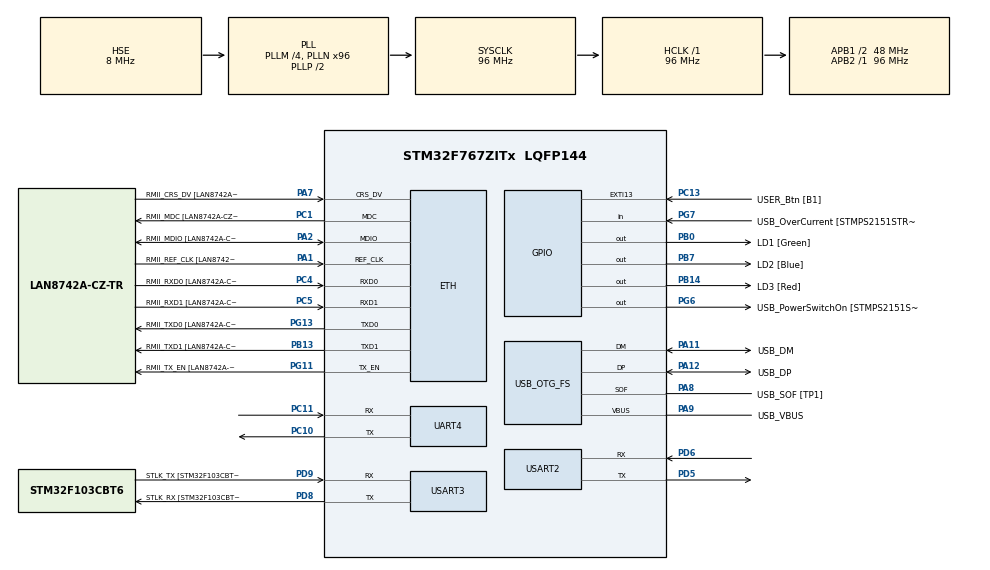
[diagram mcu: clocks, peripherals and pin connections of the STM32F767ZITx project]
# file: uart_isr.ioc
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ETH.MediaInterface=HAL_ETH_RMII_MODE
ETH.PHY_Name=LAN8742A_PHY_ADDRESS
ETH.PHY_Value=0
ETH.PhyAddress=0
FREERTOS.Queues01=uart2_BytesReceived,16,uint16_t,0,Dynamic,NULL,NULL
FREERTOS.Tasks01=defaultTask,24,128,StartDefaultTask,Default,NULL,Dynamic,NULL,NULL;uartPrintOutTas,8,128,uartPrintOutTask,Default,NULL,Dynamic,NULL,NULL
FREERTOS.Timers01=sendTimer,sendTimerEntry,osTimerPeriodic,Default,NULL,Dynamic,NULL
FREERTOS.configTIMER_TASK_PRIORITY=8
FREERTOS.configUSE_NEWLIB_REENTRANT=1
Mcu.Family=STM32F7
Mcu.Name=STM32F767ZITx
Mcu.Package=LQFP144
NVIC.PriorityGroup=NVIC_PRIORITYGROUP_4
NVIC.TIM6_DAC_IRQn=true\:15\:0\:false\:false\:true\:false\:false\:true\:true
NVIC.TimeBase=TIM6_DAC_IRQn
NVIC.TimeBaseIP=TIM6
NVIC.USART2_IRQn=true\:8\:0\:true\:false\:true\:true\:true\:true\:true
PA1.GPIO_Label=RMII_REF_CLK [LAN8742A-CZ-TR_REFCLK0]
PA1.Mode=RMII
PA1.Signal=ETH_REF_CLK
PA10.GPIO_Label=USB_ID
PA10.Signal=USB_OTG_FS_ID
PA11.GPIO_Label=USB_DM
PA11.Mode=Device_Only
PA11.Signal=USB_OTG_FS_DM
PA12.GPIO_Label=USB_DP
PA12.Mode=Device_Only
PA12.Signal=USB_OTG_FS_DP
PA13.GPIO_Label=TMS
PA13.Mode=Serial_Wire
PA13.Signal=SYS_JTMS-SWDIO
PA14.GPIO_Label=TCK
PA14.Mode=Serial_Wire
PA14.Signal=SYS_JTCK-SWCLK
PA2.GPIO_Label=RMII_MDIO [LAN8742A-CZ-TR_MDIO]
PA2.Mode=RMII
PA2.Signal=ETH_MDIO
PA7.GPIO_Label=RMII_CRS_DV [LAN8742A-CZ-TR_CRS_DV]
PA7.Mode=RMII
PA7.Signal=ETH_CRS_DV
PA8.GPIO_Label=USB_SOF [TP1]
PA8.Mode=Activate_SOF_FS
PA8.Signal=USB_OTG_FS_SOF
PA9.GPIO_Label=USB_VBUS
PA9.Mode=Activate_VBUS
PA9.Signal=USB_OTG_FS_VBUS
PB0.GPIO_Label=LD1 [Green]
PB0.Signal=GPIO_Output
PB13.GPIO_Label=RMII_TXD1 [LAN8742A-CZ-TR_TXD1]
PB13.Mode=RMII
PB13.Signal=ETH_TXD1
PB14.GPIO_Label=LD3 [Red]
PB14.Signal=GPIO_Output
PB3.GPIO_Label=SWO
PB3.Signal=SYS_JTDO-SWO
PB7.GPIO_Label=LD2 [Blue]
PB7.Signal=GPIO_Output
PC1.GPIO_Label=RMII_MDC [LAN8742A-CZ-TR_MDC]
PC1.Mode=RMII
PC1.Signal=ETH_MDC
PC10.Mode=Asynchronous
PC10.Signal=UART4_TX
PC11.Mode=Asynchronous
PC11.Signal=UART4_RX
PC13.GPIO_Label=USER_Btn [B1]
PC13.Signal=GPXTI13
PC14/OSC32_IN.Mode=LSE-External-Oscillator
PC14/OSC32_IN.Signal=RCC_OSC32_IN
PC15/OSC32_OUT.Mode=LSE-External-Oscillator
PC15/OSC32_OUT.Signal=RCC_OSC32_OUT
PC4.GPIO_Label=RMII_RXD0 [LAN8742A-CZ-TR_RXD0]
PC4.Mode=RMII
PC4.Signal=ETH_RXD0
PC5.GPIO_Label=RMII_RXD1 [LAN8742A-CZ-TR_RXD1]
PC5.Mode=RMII
PC5.Signal=ETH_RXD1
PD5.Mode=Asynchronous
PD5.Signal=USART2_TX
PD6.Mode=Asynchronous
PD6.Signal=USART2_RX
PD8.GPIO_Label=STLK_RX [STM32F103CBT6_PA3]
PD8.Mode=Asynchronous
PD8.Signal=USART3_TX
PD9.GPIO_Label=STLK_TX [STM32F103CBT6_PA2]
PD9.Mode=Asynchronous
PD9.Signal=USART3_RX
PG11.GPIO_Label=RMII_TX_EN [LAN8742A-CZ-TR_TXEN]
PG11.Mode=RMII
PG11.Signal=ETH_TX_EN
PG13.GPIO_Label=RMII_TXD0 [LAN8742A-CZ-TR_TXD0]
PG13.Mode=RMII
PG13.Signal=ETH_TXD0
PG6.GPIO_Label=USB_PowerSwitchOn [STMPS2151STR_EN]
PG6.Signal=GPIO_Output
PG7.GPIO_Label=USB_OverCurrent [STMPS2151STR_FAULT]
PG7.Signal=GPIO_Input
PH0/OSC_IN.GPIO_Label=MCO [STM32F103CBT6_PA8]
PH0/OSC_IN.Mode=HSE-External-Clock-Source
PH0/OSC_IN.Signal=RCC_OSC_IN
PH1/OSC_OUT.Mode=HSE-External-Clock-Source
PH1/OSC_OUT.Signal=RCC_OSC_OUT
ProjectManager.HeapSize=0x200
ProjectManager.StackSize=0x400
ProjectManager.TargetToolchain=STM32CubeIDE
RCC.48MHZClocksFreq_Value=24000000
RCC.AHBFreq_Value=96000000
RCC.APB1CLKDivider=RCC_HCLK_DIV2
RCC.APB1Freq_Value=48000000
RCC.APB1TimFreq_Value=96000000
RCC.APB2Freq_Value=96000000
RCC.APB2TimFreq_Value=96000000
RCC.CortexFreq_Value=96000000
RCC.HCLKFreq_Value=96000000
RCC.HSE_VALUE=8000000
RCC.HSI_VALUE=16000000
RCC.PLLM=4
RCC.PLLMUL=RCC_PLL_MUL9
RCC.PLLN=96
RCC.PLLQ=4
RCC.PRESCALERUSB=RCC_USBCLKSOURCE_PLL_DIV1_5
RCC.SYSCLKFreq_VALUE=96000000
RCC.SYSCLKSource=RCC_SYSCLKSOURCE_PLLCLK
RCC.SYSCLKSourceVirtual=RCC_SYSCLKSOURCE_PLLCLK
RCC.USBFreq_Value=48000000
RCC.VCOOutputFreq_Value=192000000
USART2.VirtualMode-Asynchronous=VM_ASYNC
USART3.VirtualMode-Asynchronous=VM_ASYNC
USB_OTG_FS.VirtualMode=Device_Only
VP_FREERTOS_VS_CMSIS_V2.Mode=CMSIS_V2
VP_SYS_VS_tim6.Mode=TIM6
board=NUCLEO-F767ZI

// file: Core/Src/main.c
/* USER CODE BEGIN Header */
/**
  ******************************************************************************
  * @file           : main.c
  * @brief          : Main program body
  ******************************************************************************
  * @attention
  *
  * Copyright (c) 2023 STMicroelectronics.
  * All rights reserved.
  *
  * This software is licensed under terms that can be found in the LICENSE file
  * in the root directory of this software component.
  * If no LICENSE file comes with this software, it is provided AS-IS.
  *
  ******************************************************************************
  */
/* USER CODE END Header */
#include "main.h"
#include "string.h"
#include "cmsis_os.h"

/* USER CODE BEGIN Includes */
#include <SEGGER_SYSVIEW.h>
#include <FreeRTOS.h>
#include <task.h>
#include <queue.h>
#include <timers.h>
#include <stdbool.h>
/* USER CODE END Includes */

#if defined ( __ICCARM__ ) /*!< IAR Compiler */
#pragma location=0x2007c000
ETH_DMADescTypeDef  DMARxDscrTab[ETH_RX_DESC_CNT]; /* Ethernet Rx DMA Descriptors */
#pragma location=0x2007c0a0
ETH_DMADescTypeDef  DMATxDscrTab[ETH_TX_DESC_CNT]; /* Ethernet Tx DMA Descriptors */

#elif defined ( __CC_ARM )  /* MDK ARM Compiler */

__attribute__((at(0x2007c000))) ETH_DMADescTypeDef  DMARxDscrTab[ETH_RX_DESC_CNT]; /* Ethernet Rx DMA Descriptors */
__attribute__((at(0x2007c0a0))) ETH_DMADescTypeDef  DMATxDscrTab[ETH_TX_DESC_CNT]; /* Ethernet Tx DMA Descriptors */

#elif defined ( __GNUC__ ) /* GNU Compiler */
ETH_DMADescTypeDef DMARxDscrTab[ETH_RX_DESC_CNT] __attribute__((section(".RxDecripSection"))); /* Ethernet Rx DMA Descriptors */
ETH_DMADescTypeDef DMATxDscrTab[ETH_TX_DESC_CNT] __attribute__((section(".TxDecripSection")));   /* Ethernet Tx DMA Descriptors */

#endif

ETH_TxPacketConfig TxConfig;

ETH_HandleTypeDef heth;

UART_HandleTypeDef huart4;
UART_HandleTypeDef huart2;
UART_HandleTypeDef huart3;

PCD_HandleTypeDef hpcd_USB_OTG_FS;

/* Definitions for defaultTask */
osThreadId_t defaultTaskHandle;
const osThreadAttr_t defaultTask_attributes = {
  .name = "defaultTask",
  .stack_size = 128 * 4,
  .priority = (osPriority_t) osPriorityNormal,
};
/* Definitions for uartPrintOutTas */
osThreadId_t uartPrintOutTasHandle;
const osThreadAttr_t uartPrintOutTas_attributes = {
  .name = "uartPrintOutTas",
  .stack_size = 128 * 4,
  .priority = (osPriority_t) osPriorityLow,
};
/* Definitions for uart2_BytesReceived */
osMessageQueueId_t uart2_BytesReceivedHandle;
const osMessageQueueAttr_t uart2_BytesReceived_attributes = {
  .name = "uart2_BytesReceived"
};
/* Definitions for sendTimer */
osTimerId_t sendTimerHandle;
const osTimerAttr_t sendTimer_attributes = {
  .name = "sendTimer"
};

void SystemClock_Config(void);
static void MX_GPIO_Init(void);
static void MX_ETH_Init(void);
static void MX_USART3_UART_Init(void);
static void MX_USB_OTG_FS_PCD_Init(void);
static void MX_UART4_Init(void);
static void MX_USART2_UART_Init(void);
void StartDefaultTask(void *argument);
void uartPrintOutTask(void *argument);
void sendTimerEntry(void *argument);

/* USER CODE BEGIN PFP */
static bool rxInProgress = false;
/* USER CODE END PFP */

int main(void)
{

  /* MCU Configuration--------------------------------------------------------*/

  /* Reset of all peripherals, Initializes the Flash interface and the Systick. */
  HAL_Init();

  /* USER CODE BEGIN Init */
  SEGGER_SYSVIEW_Conf();
  /* USER CODE END Init */

  /* Configure the system clock */
  SystemClock_Config();

  /* Initialize all configured peripherals */
  MX_GPIO_Init();
  MX_ETH_Init();
  MX_USART3_UART_Init();
  MX_USB_OTG_FS_PCD_Init();
  MX_UART4_Init();
  MX_USART2_UART_Init();

  /* Init scheduler */
  osKernelInitialize();

  /* Create the timer(s) */
  /* creation of sendTimer */
  sendTimerHandle = osTimerNew(sendTimerEntry, osTimerPeriodic, NULL, &sendTimer_attributes);

  /* USER CODE BEGIN RTOS_TIMERS */
  /* start timers, add new ones, ... */
  osTimerStart(sendTimerHandle, 1000 / portTICK_PERIOD_MS);
  /* USER CODE END RTOS_TIMERS */

  /* Create the queue(s) */
  /* creation of uart2_BytesReceived */
  uart2_BytesReceivedHandle = osMessageQueueNew (16, sizeof(uint16_t), &uart2_BytesReceived_attributes);

  /* Create the thread(s) */
  /* creation of defaultTask */
  defaultTaskHandle = osThreadNew(StartDefaultTask, NULL, &defaultTask_attributes);

  /* creation of uartPrintOutTas */
  uartPrintOutTasHandle = osThreadNew(uartPrintOutTask, NULL, &uartPrintOutTas_attributes);

  /* Start scheduler */
  osKernelStart();
  /* We should never get here as control is now taken by the scheduler */
  /* Infinite loop */
  while (1)
  {

  }
}

void SystemClock_Config(void)
{
  RCC_OscInitTypeDef RCC_OscInitStruct = {0};
  RCC_ClkInitTypeDef RCC_ClkInitStruct = {0};

  /** Configure LSE Drive Capability
  */
  HAL_PWR_EnableBkUpAccess();

  /** Configure the main internal regulator output voltage
  */
  __HAL_RCC_PWR_CLK_ENABLE();
  __HAL_PWR_VOLTAGESCALING_CONFIG(PWR_REGULATOR_VOLTAGE_SCALE3);

  /** Initializes the RCC Oscillators according to the specified parameters
  * in the RCC_OscInitTypeDef structure.
  */
  RCC_OscInitStruct.OscillatorType = RCC_OSCILLATORTYPE_HSE;
  RCC_OscInitStruct.HSEState = RCC_HSE_BYPASS;
  RCC_OscInitStruct.PLL.PLLState = RCC_PLL_ON;
  RCC_OscInitStruct.PLL.PLLSource = RCC_PLLSOURCE_HSE;
  RCC_OscInitStruct.PLL.PLLM = 4;
  RCC_OscInitStruct.PLL.PLLN = 96;
  RCC_OscInitStruct.PLL.PLLP = RCC_PLLP_DIV2;
  RCC_OscInitStruct.PLL.PLLQ = 4;
  RCC_OscInitStruct.PLL.PLLR = 2;
  if (HAL_RCC_OscConfig(&RCC_OscInitStruct) != HAL_OK)
  {
    Error_Handler();
  }

  /** Activate the Over-Drive mode
  */
  if (HAL_PWREx_EnableOverDrive() != HAL_OK)
  {
    Error_Handler();
  }

  /** Initializes the CPU, AHB and APB buses clocks
  */
  RCC_ClkInitStruct.ClockType = RCC_CLOCKTYPE_HCLK|RCC_CLOCKTYPE_SYSCLK
                              |RCC_CLOCKTYPE_PCLK1|RCC_CLOCKTYPE_PCLK2;
  RCC_ClkInitStruct.SYSCLKSource = RCC_SYSCLKSOURCE_PLLCLK;
  RCC_ClkInitStruct.AHBCLKDivider = RCC_SYSCLK_DIV1;
  RCC_ClkInitStruct.APB1CLKDivider = RCC_HCLK_DIV2;
  RCC_ClkInitStruct.APB2CLKDivider = RCC_HCLK_DIV1;

  if (HAL_RCC_ClockConfig(&RCC_ClkInitStruct, FLASH_LATENCY_3) != HAL_OK)
  {
    Error_Handler();
  }
}

static void MX_ETH_Init(void)
{

   static uint8_t MACAddr[6];

  heth.Instance = ETH;
  MACAddr[0] = 0x00;
  MACAddr[1] = 0x80;
  MACAddr[2] = 0xE1;
  MACAddr[3] = 0x00;
  MACAddr[4] = 0x00;
  MACAddr[5] = 0x00;
  heth.Init.MACAddr = &MACAddr[0];
  heth.Init.MediaInterface = HAL_ETH_RMII_MODE;
  heth.Init.TxDesc = DMATxDscrTab;
  heth.Init.RxDesc = DMARxDscrTab;
  heth.Init.RxBuffLen = 1524;

  if (HAL_ETH_Init(&heth) != HAL_OK)
  {
    Error_Handler();
  }

  memset(&TxConfig, 0 , sizeof(ETH_TxPacketConfig));
  TxConfig.Attributes = ETH_TX_PACKETS_FEATURES_CSUM | ETH_TX_PACKETS_FEATURES_CRCPAD;
  TxConfig.ChecksumCtrl = ETH_CHECKSUM_IPHDR_PAYLOAD_INSERT_PHDR_CALC;
  TxConfig.CRCPadCtrl = ETH_CRC_PAD_INSERT;

}

static void MX_UART4_Init(void)
{

  huart4.Instance = UART4;
  huart4.Init.BaudRate = 115200;
  huart4.Init.WordLength = UART_WORDLENGTH_8B;
  huart4.Init.StopBits = UART_STOPBITS_1;
  huart4.Init.Parity = UART_PARITY_NONE;
  huart4.Init.Mode = UART_MODE_TX_RX;
  huart4.Init.HwFlowCtl = UART_HWCONTROL_NONE;
  huart4.Init.OverSampling = UART_OVERSAMPLING_16;
  huart4.Init.OneBitSampling = UART_ONE_BIT_SAMPLE_DISABLE;
  huart4.AdvancedInit.AdvFeatureInit = UART_ADVFEATURE_NO_INIT;
  if (HAL_UART_Init(&huart4) != HAL_OK)
  {
    Error_Handler();
  }

}

static void MX_USART2_UART_Init(void)
{

  huart2.Instance = USART2;
  huart2.Init.BaudRate = 115200;
  huart2.Init.WordLength = UART_WORDLENGTH_8B;
  huart2.Init.StopBits = UART_STOPBITS_1;
  huart2.Init.Parity = UART_PARITY_NONE;
  huart2.Init.Mode = UART_MODE_TX_RX;
  huart2.Init.HwFlowCtl = UART_HWCONTROL_NONE;
  huart2.Init.OverSampling = UART_OVERSAMPLING_16;
  huart2.Init.OneBitSampling = UART_ONE_BIT_SAMPLE_DISABLE;
  huart2.AdvancedInit.AdvFeatureInit = UART_ADVFEATURE_NO_INIT;
  if (HAL_UART_Init(&huart2) != HAL_OK)
  {
    Error_Handler();
  }

}

static void MX_USART3_UART_Init(void)
{

  huart3.Instance = USART3;
  huart3.Init.BaudRate = 115200;
  huart3.Init.WordLength = UART_WORDLENGTH_8B;
  huart3.Init.StopBits = UART_STOPBITS_1;
  huart3.Init.Parity = UART_PARITY_NONE;
  huart3.Init.Mode = UART_MODE_TX_RX;
  huart3.Init.HwFlowCtl = UART_HWCONTROL_NONE;
  huart3.Init.OverSampling = UART_OVERSAMPLING_16;
  huart3.Init.OneBitSampling = UART_ONE_BIT_SAMPLE_DISABLE;
  huart3.AdvancedInit.AdvFeatureInit = UART_ADVFEATURE_NO_INIT;
  if (HAL_UART_Init(&huart3) != HAL_OK)
  {
    Error_Handler();
  }

}

static void MX_USB_OTG_FS_PCD_Init(void)
{

  hpcd_USB_OTG_FS.Instance = USB_OTG_FS;
  hpcd_USB_OTG_FS.Init.dev_endpoints = 6;
  hpcd_USB_OTG_FS.Init.speed = PCD_SPEED_FULL;
  hpcd_USB_OTG_FS.Init.dma_enable = DISABLE;
  hpcd_USB_OTG_FS.Init.phy_itface = PCD_PHY_EMBEDDED;
  hpcd_USB_OTG_FS.Init.Sof_enable = ENABLE;
  hpcd_USB_OTG_FS.Init.low_power_enable = DISABLE;
  hpcd_USB_OTG_FS.Init.lpm_enable = DISABLE;
  hpcd_USB_OTG_FS.Init.vbus_sensing_enable = ENABLE;
  hpcd_USB_OTG_FS.Init.use_dedicated_ep1 = DISABLE;
  if (HAL_PCD_Init(&hpcd_USB_OTG_FS) != HAL_OK)
  {
    Error_Handler();
  }

}

static void MX_GPIO_Init(void)
{
  GPIO_InitTypeDef GPIO_InitStruct = {0};

  /* GPIO Ports Clock Enable */
  __HAL_RCC_GPIOC_CLK_ENABLE();
  __HAL_RCC_GPIOH_CLK_ENABLE();
  __HAL_RCC_GPIOA_CLK_ENABLE();
  __HAL_RCC_GPIOB_CLK_ENABLE();
  __HAL_RCC_GPIOD_CLK_ENABLE();
  __HAL_RCC_GPIOG_CLK_ENABLE();

  /*Configure GPIO pin Output Level */
  HAL_GPIO_WritePin(GPIOB, LD1_Pin|LD3_Pin|LD2_Pin, GPIO_PIN_RESET);

  /*Configure GPIO pin Output Level */
  HAL_GPIO_WritePin(USB_PowerSwitchOn_GPIO_Port, USB_PowerSwitchOn_Pin, GPIO_PIN_RESET);

  /*Configure GPIO pin : USER_Btn_Pin */
  GPIO_InitStruct.Pin = USER_Btn_Pin;
  GPIO_InitStruct.Mode = GPIO_MODE_IT_RISING;
  GPIO_InitStruct.Pull = GPIO_NOPULL;
  HAL_GPIO_Init(USER_Btn_GPIO_Port, &GPIO_InitStruct);

  /*Configure GPIO pins : LD1_Pin LD3_Pin LD2_Pin */
  GPIO_InitStruct.Pin = LD1_Pin|LD3_Pin|LD2_Pin;
  GPIO_InitStruct.Mode = GPIO_MODE_OUTPUT_PP;
  GPIO_InitStruct.Pull = GPIO_NOPULL;
  GPIO_InitStruct.Speed = GPIO_SPEED_FREQ_LOW;
  HAL_GPIO_Init(GPIOB, &GPIO_InitStruct);

  /*Configure GPIO pin : USB_PowerSwitchOn_Pin */
  GPIO_InitStruct.Pin = USB_PowerSwitchOn_Pin;
  GPIO_InitStruct.Mode = GPIO_MODE_OUTPUT_PP;
  GPIO_InitStruct.Pull = GPIO_NOPULL;
  GPIO_InitStruct.Speed = GPIO_SPEED_FREQ_LOW;
  HAL_GPIO_Init(USB_PowerSwitchOn_GPIO_Port, &GPIO_InitStruct);

  /*Configure GPIO pin : USB_OverCurrent_Pin */
  GPIO_InitStruct.Pin = USB_OverCurrent_Pin;
  GPIO_InitStruct.Mode = GPIO_MODE_INPUT;
  GPIO_InitStruct.Pull = GPIO_NOPULL;
  HAL_GPIO_Init(USB_OverCurrent_GPIO_Port, &GPIO_InitStruct);

}

/* USER CODE BEGIN 4 */
void startReceiveInt( void )
{

	rxInProgress = true;
	USART2->CR3 |= USART_CR3_EIE;	//enable error interrupts
	USART2->CR1 |= (USART_CR1_UE | USART_CR1_RXNEIE);
	//all 4 bits are for preemption priority -
	NVIC_SetPriority(USART2_IRQn, 6);
	NVIC_EnableIRQ(USART2_IRQn);
	SEGGER_SYSVIEW_PrintfHost("recv");
}
void USART2_IRQHandler(void)
{
  /* USER CODE BEGIN USART2_IRQn 0 */
  //SEGGER_SYSVIEW_PrintfHost("isr");
  /* USER CODE END USART2_IRQn 0 */

  /* USER CODE BEGIN USART2_IRQn 1 */
	portBASE_TYPE xHigherPriorityTaskWoken = pdFALSE;
	SEGGER_SYSVIEW_RecordEnterISR();

	//first check for errors
	if(	USART2->ISR & (	USART_ISR_ORE_Msk |
						USART_ISR_NE_Msk |
						USART_ISR_FE_Msk |
						USART_ISR_PE_Msk ))
	{
		//clear error flags
		USART2->ICR |= (USART_ICR_FECF |
						USART_ICR_PECF |
						USART_ICR_NCF |
						USART_ICR_ORECF);
	}

	if(	USART2->ISR & USART_ISR_RXNE_Msk)
	{
		//read the data register unconditionally to clear
		//the receive not empty interrupt if no reception is
		//in progress
		uint8_t tempVal = (uint8_t) USART2->RDR;

		if(rxInProgress)
		{
			xQueueSendFromISR(uart2_BytesReceivedHandle, &tempVal, &xHigherPriorityTaskWoken);
			//SEGGER_SYSVIEW_PrintfHost(&tempVal);
		}
	}
	SEGGER_SYSVIEW_RecordExitISR();
	portYIELD_FROM_ISR(xHigherPriorityTaskWoken);
  /* USER CODE END USART2_IRQn 1 */
}
static const uint8_t uart4Msg[1] = "d";

/* USER CODE END 4 */

void StartDefaultTask(void *argument)
{
  /* USER CODE BEGIN 5 */
  /* Infinite loop */
  for(;;)
  {
	//SEGGER_SYSVIEW_PrintfHost("default");
    osDelay(1);
    //SEGGER_SYSVIEW_PrintfHost("default");
  }
  /* USER CODE END 5 */
}

void uartPrintOutTask(void *argument)
{
  /* USER CODE BEGIN uartPrintOutTask */
  /* Infinite loop */
  SEGGER_SYSVIEW_PrintfHost("printouttask init");
  char nextByte;
  //assert_param(nextBytes != NULL);
  //MX_USART2_UART_Init();
  //SEGGER_SYSVIEW_PrintfHost("call startreceiveint");
  startReceiveInt();
  SEGGER_SYSVIEW_PrintfHost("return startreceiveint");
  for(;;)
  {
	SEGGER_SYSVIEW_PrintfHost("printouttask");
    xQueueReceive(uart2_BytesReceivedHandle, &nextByte, portMAX_DELAY);
    SEGGER_SYSVIEW_PrintfHost(&nextByte);
  }
  /* USER CODE END uartPrintOutTask */
}

/* sendTimerEntry function */
void sendTimerEntry(void *argument)
{
  /* USER CODE BEGIN sendTimerEntry */
	//SEGGER_SYSVIEW_PrintfHost("timer");
	  SEGGER_SYSVIEW_PrintfHost("timer sender");
	  HAL_UART_Transmit(&huart4, uart4Msg, sizeof(uart4Msg), 100);
  /* USER CODE END sendTimerEntry */
}

void HAL_TIM_PeriodElapsedCallback(TIM_HandleTypeDef *htim)
{
  if (htim->Instance == TIM6) {
    HAL_IncTick();
  }
}

void Error_Handler(void)
{
  __disable_irq();
  while (1)
  {
  }
}
